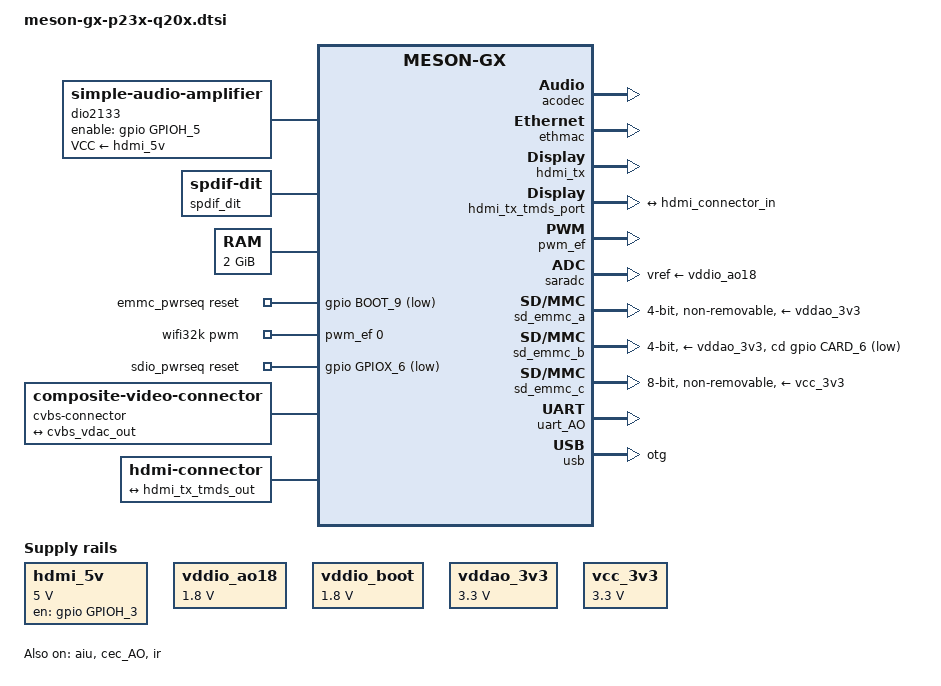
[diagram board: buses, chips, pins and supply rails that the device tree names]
// SPDX-License-Identifier: (GPL-2.0+ OR MIT)
/*
 * Copyright (c) 2016 Endless Computers, Inc.
 * Author: Carlo Caione <carlo@endlessm.com>
 */

/* Common DTSI for same Amlogic Q200/Q201 and P230/P231 boards using either
 * the pin-compatible S912 (GXM) or S905D (GXL) SoCs.
 */

#include <dt-bindings/sound/meson-aiu.h>

/ {
	aliases {
		serial0 = &uart_AO;
		ethernet0 = &ethmac;
	};

	dio2133: analog-amplifier {
		compatible = "simple-audio-amplifier";
		sound-name-prefix = "AU2";
		VCC-supply = <&hdmi_5v>;
		enable-gpios = <&gpio GPIOH_5 GPIO_ACTIVE_HIGH>;
	};

	spdif_dit: audio-codec-0 {
		#sound-dai-cells = <0>;
		compatible = "linux,spdif-dit";
		status = "okay";
		sound-name-prefix = "DIT";
	};

	chosen {
		stdout-path = "serial0:115200n8";
	};

	memory@0 {
		device_type = "memory";
		reg = <0x0 0x0 0x0 0x80000000>;
	};

	hdmi_5v: regulator-hdmi-5v {
		compatible = "regulator-fixed";

		regulator-name = "HDMI_5V";
		regulator-min-microvolt = <5000000>;
		regulator-max-microvolt = <5000000>;

		gpio = <&gpio GPIOH_3 GPIO_ACTIVE_HIGH>;
		enable-active-high;
		regulator-always-on;
	};

	vddio_ao18: regulator-vddio_ao18 {
		compatible = "regulator-fixed";
		regulator-name = "VDDIO_AO18";
		regulator-min-microvolt = <1800000>;
		regulator-max-microvolt = <1800000>;
	};

	vddio_boot: regulator-vddio_boot {
		compatible = "regulator-fixed";
		regulator-name = "VDDIO_BOOT";
		regulator-min-microvolt = <1800000>;
		regulator-max-microvolt = <1800000>;
	};

	vddao_3v3: regulator-vddao_3v3 {
		compatible = "regulator-fixed";
		regulator-name = "VDDAO_3V3";
		regulator-min-microvolt = <3300000>;
		regulator-max-microvolt = <3300000>;
	};

	vcc_3v3: regulator-vcc_3v3 {
		compatible = "regulator-fixed";
		regulator-name = "VCC_3V3";
		regulator-min-microvolt = <3300000>;
		regulator-max-microvolt = <3300000>;
	};

	emmc_pwrseq: emmc-pwrseq {
		compatible = "mmc-pwrseq-emmc";
		reset-gpios = <&gpio BOOT_9 GPIO_ACTIVE_LOW>;
	};

	wifi32k: wifi32k {
		compatible = "pwm-clock";
		#clock-cells = <0>;
		clock-frequency = <32768>;
		pwms = <&pwm_ef 0 30518 0>; /* PWM_E at 32.768KHz */
	};

	sdio_pwrseq: sdio-pwrseq {
		compatible = "mmc-pwrseq-simple";
		reset-gpios = <&gpio GPIOX_6 GPIO_ACTIVE_LOW>;
		clocks = <&wifi32k>;
		clock-names = "ext_clock";
	};

	cvbs-connector {
		compatible = "composite-video-connector";

		port {
			cvbs_connector_in: endpoint {
				remote-endpoint = <&cvbs_vdac_out>;
			};
		};
	};

	hdmi-connector {
		compatible = "hdmi-connector";
		type = "a";

		port {
			hdmi_connector_in: endpoint {
				remote-endpoint = <&hdmi_tx_tmds_out>;
			};
		};
	};

	sound {
		compatible = "amlogic,gx-sound-card";
		model = "P230-Q200";
		audio-aux-devs = <&dio2133>;
		audio-widgets = "Line", "Lineout";
		audio-routing = "AU2 INL", "ACODEC LOLP",
				"AU2 INR", "ACODEC LORP",
				"AU2 INL", "ACODEC LOLN",
				"AU2 INR", "ACODEC LORN",
				"Lineout", "AU2 OUTL",
				"Lineout", "AU2 OUTR";
		assigned-clocks = <&clkc CLKID_MPLL0>,
				  <&clkc CLKID_MPLL1>,
				  <&clkc CLKID_MPLL2>;
		assigned-clock-parents = <0>, <0>, <0>;
		assigned-clock-rates = <294912000>,
				       <270950400>,
				       <393216000>;
		dai-link-0 {
			sound-dai = <&aiu AIU_CPU CPU_I2S_FIFO>;
		};

		dai-link-1 {
			sound-dai = <&aiu AIU_CPU CPU_SPDIF_FIFO>;
		};

		dai-link-2 {
			sound-dai = <&aiu AIU_CPU CPU_I2S_ENCODER>;
			dai-format = "i2s";
			mclk-fs = <256>;

			codec-0 {
				sound-dai = <&aiu AIU_HDMI CTRL_I2S>;
			};

			codec-1 {
				sound-dai = <&aiu AIU_ACODEC CTRL_I2S>;
			};
		};

		dai-link-3 {
			sound-dai = <&aiu AIU_CPU CPU_SPDIF_ENCODER>;

			codec-0 {
				sound-dai = <&spdif_dit>;
			};
		};

		dai-link-4 {
			sound-dai = <&aiu AIU_HDMI CTRL_OUT>;

			codec-0 {
				sound-dai = <&hdmi_tx>;
			};
		};

		dai-link-5 {
			sound-dai = <&aiu AIU_ACODEC CTRL_OUT>;

			codec-0 {
				sound-dai = <&acodec>;
			};
		};
	};
};

&acodec {
	AVDD-supply = <&vddio_ao18>;
	status = "okay";
};

&aiu {
	status = "okay";
	pinctrl-0 = <&spdif_out_h_pins>;
	pinctrl-names = "default";

};

&cec_AO {
	status = "okay";
	pinctrl-0 = <&ao_cec_pins>;
	pinctrl-names = "default";
	hdmi-phandle = <&hdmi_tx>;
};

&cvbs_vdac_port {
	cvbs_vdac_out: endpoint {
		remote-endpoint = <&cvbs_connector_in>;
	};
};

&ethmac {
	status = "okay";
};

&hdmi_tx {
	status = "okay";
	pinctrl-0 = <&hdmi_hpd_pins>, <&hdmi_i2c_pins>;
	pinctrl-names = "default";
	hdmi-supply = <&hdmi_5v>;
};

&hdmi_tx_tmds_port {
	hdmi_tx_tmds_out: endpoint {
		remote-endpoint = <&hdmi_connector_in>;
	};
};

&ir {
	status = "okay";
	pinctrl-0 = <&remote_input_ao_pins>;
	pinctrl-names = "default";
};

&pwm_ef {
	status = "okay";
	pinctrl-0 = <&pwm_e_pins>;
	pinctrl-names = "default";
	clocks = <&clkc CLKID_FCLK_DIV4>;
	clock-names = "clkin0";
};

&saradc {
	status = "okay";
	vref-supply = <&vddio_ao18>;
};

/* Wireless SDIO Module */
&sd_emmc_a {
	status = "okay";
	pinctrl-0 = <&sdio_pins>;
	pinctrl-1 = <&sdio_clk_gate_pins>;
	pinctrl-names = "default", "clk-gate";
	#address-cells = <1>;
	#size-cells = <0>;

	bus-width = <4>;
	cap-sd-highspeed;
	max-frequency = <50000000>;

	non-removable;
	disable-wp;

	/* WiFi firmware requires power to be kept while in suspend */
	keep-power-in-suspend;

	mmc-pwrseq = <&sdio_pwrseq>;

	vmmc-supply = <&vddao_3v3>;
	vqmmc-supply = <&vddio_boot>;
};

/* SD card */
&sd_emmc_b {
	status = "okay";
	pinctrl-0 = <&sdcard_pins>;
	pinctrl-1 = <&sdcard_clk_gate_pins>;
	pinctrl-names = "default", "clk-gate";

	bus-width = <4>;
	cap-sd-highspeed;
	max-frequency = <50000000>;
	disable-wp;

	cd-gpios = <&gpio CARD_6 GPIO_ACTIVE_LOW>;

	vmmc-supply = <&vddao_3v3>;
	vqmmc-supply = <&vddio_boot>;
};

/* eMMC */
&sd_emmc_c {
	status = "okay";
	pinctrl-0 = <&emmc_pins>, <&emmc_ds_pins>;
	pinctrl-1 = <&emmc_clk_gate_pins>;
	pinctrl-names = "default", "clk-gate";

	bus-width = <8>;
	cap-mmc-highspeed;
	max-frequency = <200000000>;
	non-removable;
	disable-wp;
	mmc-ddr-1_8v;
	mmc-hs200-1_8v;

	mmc-pwrseq = <&emmc_pwrseq>;
	vmmc-supply = <&vcc_3v3>;
	vqmmc-supply = <&vddio_boot>;
};

/* This UART is brought out to the DB9 connector */
&uart_AO {
	status = "okay";
	pinctrl-0 = <&uart_ao_a_pins>;
	pinctrl-names = "default";
};

&usb {
	status = "okay";
	dr_mode = "otg";
};
